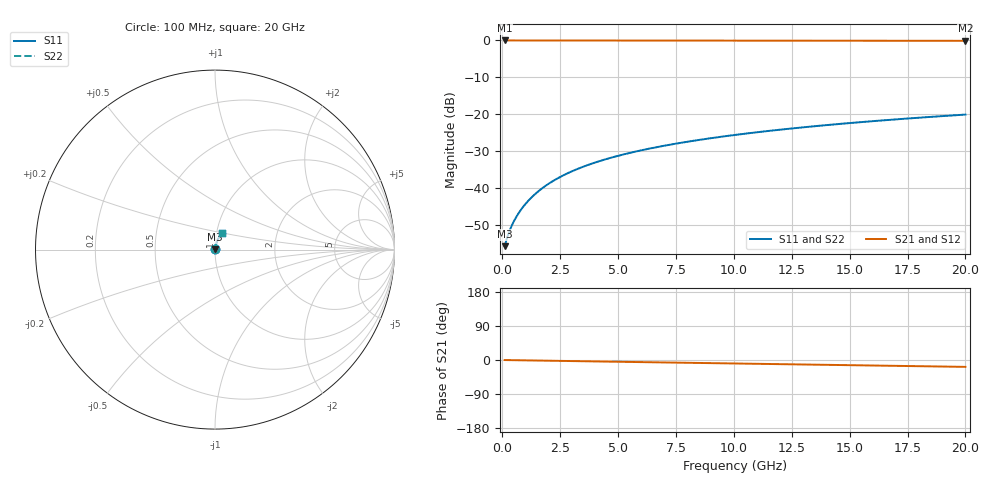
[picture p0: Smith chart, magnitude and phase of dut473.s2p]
! Touchstone file exported from HFSS 2026.1.0
!  File:  C:/ffzhzh/LocalFiles/Ansys_Project_Files/temp_train_BSMRDL_473_1783013712_46388.aedt
!  Generated:  01:36:28 AM Jul  3, 2026
!  Design:  BSMRDL
!  Project:  temp_train_BSMRDL_473_1783013712_46388
! Variables:
!  h_bsmrdl = 4.24um
!  h_ox = 20um
!  h_rdl = 5um
!  h_sub = 80um
!  h_tmrdl = 5um
!  h_tsv = 80um
!  h_via = 3um
!  l_bsmrdl = 294.82um
!  l_sub = 694.82um
!  l_tmrdl = 200um
!  m_sub = 200um
!  pitch = 28.41um
!  r_tsv = 6um
!  s_tmrdl = 10um
!  w_bsmrdl = 18.78um
!  w_sub = 500um
!  w_tmrdl = 12um
!  x_tsv_center1 = 206um
!  x_tsv_center2 = 519.6um
!  x_tsv_center3 = 731.6um
!  x_tsv_center4 = 1045.2um
!  x_tsv_center5 = 1257.2um
!  x_tsv_center6 = 1570.8um
# GHz S MA R 50.000000
! Terminal data exported
! Port[1] = BSM_RDL1_1_T1
! Port[2] = BSM_RDL1_1_T2
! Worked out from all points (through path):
!   200 points, 100 MHz to 20 GHz, reference 50 ohm
!   highest |S21| = -0.01 dB at 100 MHz (marker M1); lowest = -0.1 dB at 20 GHz (marker M2)
!   group delay of S21, straight-line fit = 2.51 ps
!   lowest |S11| = -55.6 dB at 100 MHz (marker M3), VSWR 1.00, Z = 50.1 + j0.0724 ohm
!   |S11| at or under -10 dB: start of sweep to end of sweep
!   |S22| runs from -55.6 to -20.0 dB; largest |S21 - S12| = 1.9e-15
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0.1  0.001661 25.8  0.9985 -0.1  0.9985 -0.1  0.001661 25.8
! Gamma 0 0 0 0
! Port Impedance 50 0 50 0
0.2  0.002118 40.6  0.9984 -0.2  0.9984 -0.2  0.002118 40.6
0.3  0.002616 48.9  0.9983 -0.3  0.9983 -0.3  0.002616 48.9
0.4  0.00311 54.4  0.9982 -0.4  0.9982 -0.4  0.00311 54.4
0.5  0.003604 58.5  0.9981 -0.5  0.9981 -0.5  0.003604 58.5
0.6  0.004102 61.7  0.9981 -0.6  0.9981 -0.6  0.004103 61.7
0.8  0.005121 66.5  0.998 -0.8  0.998 -0.8  0.005121 66.5
1  0.006167 69.8  0.9979 -1.0  0.9979 -1.0  0.006167 69.8
1.2  0.007233 72.1  0.9979 -1.1  0.9979 -1.1  0.007233 72.1
1.4  0.008311 73.8  0.9978 -1.3  0.9978 -1.3  0.008311 73.8
1.7  0.009941 75.5  0.9977 -1.6  0.9977 -1.6  0.009941 75.5
2.2  0.01267 77.1  0.9975 -2.1  0.9975 -2.1  0.01267 77.1
2.8  0.01593 78.0  0.9973 -2.6  0.9973 -2.6  0.01593 78.0
3.5  0.01971 78.4  0.9969 -3.3  0.9969 -3.3  0.01971 78.4
4.2  0.02343 78.3  0.9966 -3.9  0.9966 -3.9  0.02343 78.3
5  0.02761 78.0  0.9961 -4.7  0.9961 -4.7  0.02761 78.0
6.8  0.03681 77.0  0.995 -6.3  0.995 -6.3  0.03681 77.0
8.3  0.04429 76.0  0.9942 -7.7  0.9942 -7.7  0.04429 76.0
10.1  0.0531 74.8  0.9931 -9.3  0.9931 -9.3  0.0531 74.8
13.4  0.06893 72.4  0.9912 -12.3  0.9912 -12.3  0.06893 72.4
16.7  0.0844 69.9  0.9892 -15.2  0.9892 -15.2  0.0844 69.9
20  0.09952 67.4  0.9872 -18.1  0.9872 -18.1  0.09953 67.3
